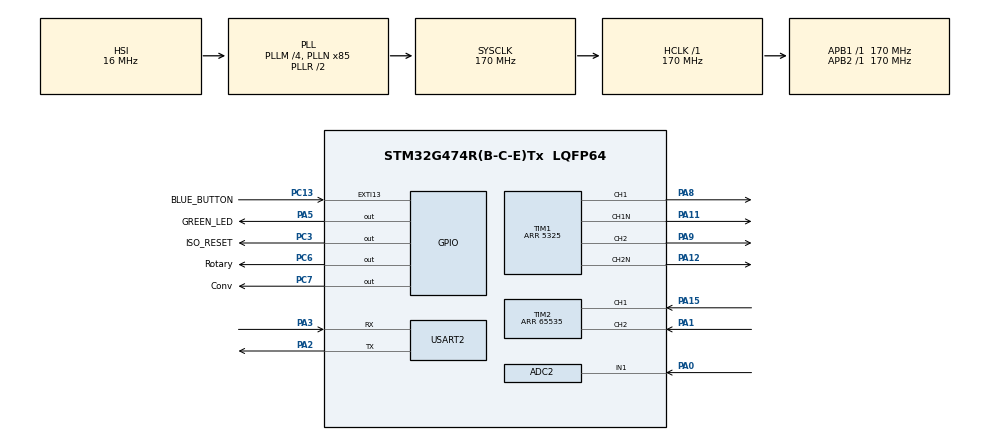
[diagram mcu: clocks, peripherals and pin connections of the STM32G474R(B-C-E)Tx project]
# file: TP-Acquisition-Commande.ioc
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ADC2.Channel-1\#ChannelRegularConversion=ADC_CHANNEL_1
ADC2.ClockPrescaler=ADC_CLOCK_ASYNC_DIV4
ADC2.DMAContinuousRequests=ENABLE
ADC2.ExternalTrigConv=ADC_EXTERNALTRIG_T1_TRGO
ADC2.NbrOfConversionFlag=1
ADC2.OffsetNumber-1\#ChannelRegularConversion=ADC_OFFSET_NONE
ADC2.Overrun=ADC_OVR_DATA_OVERWRITTEN
ADC2.Rank-1\#ChannelRegularConversion=1
ADC2.SamplingTime-1\#ChannelRegularConversion=ADC_SAMPLETIME_2CYCLES_5
Dma.ADC2.0.Direction=DMA_PERIPH_TO_MEMORY
Dma.ADC2.0.EventEnable=DISABLE
Dma.ADC2.0.Instance=DMA1_Channel1
Dma.ADC2.0.MemDataAlignment=DMA_MDATAALIGN_HALFWORD
Dma.ADC2.0.MemInc=DMA_MINC_ENABLE
Dma.ADC2.0.Mode=DMA_CIRCULAR
Dma.ADC2.0.PeriphDataAlignment=DMA_PDATAALIGN_HALFWORD
Dma.ADC2.0.PeriphInc=DMA_PINC_DISABLE
Dma.ADC2.0.Polarity=HAL_DMAMUX_REQ_GEN_RISING
Dma.ADC2.0.Priority=DMA_PRIORITY_LOW
Dma.ADC2.0.RequestNumber=1
Dma.ADC2.0.SignalID=NONE
Dma.ADC2.0.SyncEnable=DISABLE
Dma.ADC2.0.SyncPolarity=HAL_DMAMUX_SYNC_NO_EVENT
Dma.ADC2.0.SyncRequestNumber=1
Dma.ADC2.0.SyncSignalID=NONE
Dma.Request0=ADC2
Mcu.Family=STM32G4
Mcu.Name=STM32G474R(B-C-E)Tx
Mcu.Package=LQFP64
NVIC.ADC1_2_IRQn=true\:0\:0\:false\:false\:true\:true\:true\:true
NVIC.DMA1_Channel1_IRQn=true\:0\:0\:false\:false\:true\:false\:true\:true
NVIC.EXTI15_10_IRQn=true\:0\:0\:false\:false\:true\:true\:true\:true
NVIC.PriorityGroup=NVIC_PRIORITYGROUP_4
NVIC.TIM2_IRQn=true\:0\:0\:false\:false\:true\:true\:true\:true
NVIC.TIM3_IRQn=true\:0\:0\:false\:false\:true\:true\:true\:true
NVIC.USART2_IRQn=true\:0\:0\:false\:false\:true\:true\:true\:true
PA0.Mode=IN1-Single-Ended
PA0.Signal=ADC2_IN1
PA1.Signal=S_TIM2_CH2
PA11.Mode=PWM Generation1 CH1 CH1N
PA11.Signal=TIM1_CH1N
PA12.Mode=PWM Generation2 CH2 CH2N
PA12.Signal=TIM1_CH2N
PA13.GPIO_Label=T_SWDIO
PA13.Mode=Serial_Wire
PA13.Signal=SYS_JTMS-SWDIO
PA14.GPIO_Label=T_SWCLK
PA14.Mode=Serial_Wire
PA14.Signal=SYS_JTCK-SWCLK
PA15.Signal=S_TIM2_CH1
PA2.Mode=Asynchronous
PA2.Signal=USART2_TX
PA3.Mode=Asynchronous
PA3.Signal=USART2_RX
PA5.GPIO_Label=GREEN_LED
PA5.Signal=GPIO_Output
PA8.Signal=S_TIM1_CH1
PA9.Signal=S_TIM1_CH2
PC13.GPIO_Label=BLUE_BUTTON
PC13.Signal=GPXTI13
PC14-OSC32_IN.Mode=LSE-External-Oscillator
PC14-OSC32_IN.Signal=RCC_OSC32_IN
PC15-OSC32_OUT.Mode=LSE-External-Oscillator
PC15-OSC32_OUT.Signal=RCC_OSC32_OUT
PC3.GPIO_Label=ISO_RESET
PC3.Signal=GPIO_Output
PC6.GPIO_Label=Rotary
PC6.Signal=GPIO_Output
PC7.GPIO_Label=Conv
PC7.Signal=GPIO_Output
PF0-OSC_IN.Mode=HSE-External-Oscillator
PF0-OSC_IN.Signal=RCC_OSC_IN
PF1-OSC_OUT.Mode=HSE-External-Oscillator
PF1-OSC_OUT.Signal=RCC_OSC_OUT
ProjectManager.HeapSize=0x200
ProjectManager.StackSize=0x400
ProjectManager.TargetToolchain=STM32CubeIDE
RCC.ADC12Freq_Value=170000000
RCC.ADC345Freq_Value=170000000
RCC.AHBFreq_Value=170000000
RCC.APB1Freq_Value=170000000
RCC.APB1TimFreq_Value=170000000
RCC.APB2Freq_Value=170000000
RCC.APB2TimFreq_Value=170000000
RCC.CortexFreq_Value=170000000
RCC.EXTERNAL_CLOCK_VALUE=12288000
RCC.HCLKFreq_Value=170000000
RCC.HSE_VALUE=24000000
RCC.HSI48_VALUE=48000000
RCC.HSI_VALUE=16000000
RCC.PLLM=RCC_PLLM_DIV4
RCC.PLLN=85
RCC.RTCClockSelection=RCC_RTCCLKSOURCE_LSE
RCC.SYSCLKFreq_VALUE=170000000
RCC.SYSCLKSource=RCC_SYSCLKSOURCE_PLLCLK
RCC.USBFreq_Value=170000000
RCC.VCOOutputFreq_Value=340000000
SH.S_TIM1_CH1.0=TIM1_CH1,PWM Generation1 CH1 CH1N
SH.S_TIM1_CH2.0=TIM1_CH2,PWM Generation2 CH2 CH2N
SH.S_TIM2_CH1.0=TIM2_CH1,Encoder_Interface
SH.S_TIM2_CH2.0=TIM2_CH2,Encoder_Interface
TIM1.BreakState=TIM_BREAK_DISABLE
TIM1.Channel-PWM\ Generation1\ CH1\ CH1N=TIM_CHANNEL_1
TIM1.Channel-PWM\ Generation2\ CH2\ CH2N=TIM_CHANNEL_2
TIM1.CounterMode=TIM_COUNTERMODE_CENTERALIGNED1
TIM1.DeadTime=205
TIM1.PeriodNoDither=5325
TIM1.PulseNoDither_1=2663
TIM1.PulseNoDither_2=2663
TIM1.TIM_MasterOutputTrigger=TIM_TRGO_UPDATE
TIM2.AutoReloadPreload=TIM_AUTORELOAD_PRELOAD_ENABLE
TIM2.EncoderMode=TIM_ENCODERMODE_TI12
TIM2.PeriodNoDither=65535
TIM3.AutoReloadPreload=TIM_AUTORELOAD_PRELOAD_ENABLE
TIM3.PeriodNoDither=500
TIM3.Prescaler=17000
USART2.VirtualMode-Asynchronous=VM_ASYNC
VP_SYS_VS_DBSignals.Mode=DisableDeadBatterySignals
VP_TIM3_VS_ClockSourceINT.Mode=Internal
board=NUCLEO-G474RE

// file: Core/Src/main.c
/* USER CODE BEGIN Header */
/**
  ******************************************************************************
  * @file           : main.c
  * @brief          : Main program body
  ******************************************************************************
  * @attention
  *
  * Copyright (c) 2022 STMicroelectronics.
  * All rights reserved.
  *
  * This software is licensed under terms that can be found in the LICENSE file
  * in the root directory of this software component.
  * If no LICENSE file comes with this software, it is provided AS-IS.
  *
  ******************************************************************************
  */
/* USER CODE END Header */
#include "main.h"
#include "adc.h"
#include "dma.h"
#include "tim.h"
#include "usart.h"
#include "gpio.h"

/* USER CODE BEGIN PD */
#define UART_TX_BUFFER_SIZE 64
#define UART_RX_BUFFER_SIZE 1
#define CMD_BUFFER_SIZE 64
#define MAX_ARGS 9
// LF = line feed, saut de ligne
#define ASCII_LF 0x0A
// CR = carriage return, retour chariot
#define ASCII_CR 0x0D
// DEL = delete
#define ASCII_DEL 0x7F

#define	ADC_BUFFER_SIZE 1

#define CURRENT_GAIN_K 10
#define CURRENT_GAIN_I 0.127
/* USER CODE END PD */

/* USER CODE BEGIN PV */

struct Valeurs
{
	int Vitesse;
	int Alpha;
	int Courant;
	int Err_Angle;
};
struct Valeurs VAL_STRUCT;

uint8_t prompt[]="user@Nucleo-STM32G431>>";
uint8_t started[]=
		"\r\n*-----------------------------*"
		"\r\n| Welcome on Nucleo-STM32G431 |"
		"\r\n*-----------------------------*"
		"\r\n";
uint8_t newline[]="\r\n";
uint8_t cmdNotFound[]="Command not found\r\n";
uint32_t uartRxReceived;
uint8_t uartRxBuffer[UART_RX_BUFFER_SIZE];
uint8_t uartTxBuffer[UART_TX_BUFFER_SIZE];

// Tableaux comparatifs des commandes

uint8_t helpCMD[] = "help";
uint8_t pinoutCMD[] = "pinout";
uint8_t startCMD[] = "start";
uint8_t stopCMD[] = "stop";
uint8_t alphaCMD[] = "alpha";
uint8_t IsoReset[] = "isoreset";
uint8_t SpeedCMD[] = "speed";
uint8_t ADC[] = "ADC";
uint8_t NbConv = 0;
uint8_t Status;
uint16_t DAT[ADC_BUFFER_SIZE];

float courant[2] = {0};
float Ticks = 0;
float PREC_ALPHA = 50;

/* USER CODE END PV */

void SystemClock_Config(void);
/* USER CODE BEGIN PFP */

int ConvAlpha(int vitesse);
void CCRAlpha(int alpha);
void TIMIRQ(void);
void AsservCourant(float Consigne);

/* USER CODE END PFP */

/* USER CODE BEGIN 0 */

int ConvAlpha(int vitesse)	//Speed to Alpha conversion and send for modification of CCR
{
	int ValAlpha = ((vitesse + 3000)/60);
	CCRAlpha(ValAlpha);
	return ValAlpha;
}

void HAL_ADC_ConvCpltCallback(ADC_HandleTypeDef* hadc)	//Calculate current mean and send it to PI Corrector each DMA interrupt
{
	NbConv++;
	float CMoy = 0;
	for (int i = 0; i < ADC_BUFFER_SIZE; ++i) {
		CMoy = CMoy + (float)DAT[i];
	}
	CMoy = CMoy/ADC_BUFFER_SIZE;
	courant[0] = ((CMoy-3100.0)/4096.0)*(12.0*3.3)-0.3;
	AsservCourant(courant[0]);
}

void CCRAlpha(int alpha)	//Modification of CCR
{
	 TIM1->CCR1 = (int)((5325*alpha)/100);
	 TIM1->CCR2 = (int)((5325*(100 - alpha)/100));
	 TIM1->CNT=0;
}

void PWMStartStop(void)	//Start or Stop PWM generation depending on actual state
{
	if(Status == 0)
	{
		ConvAlpha(0);
		HAL_TIM_PWM_Start(&htim1, TIM_CHANNEL_1);
		HAL_TIMEx_PWMN_Start(&htim1, TIM_CHANNEL_1);
		HAL_TIM_PWM_Start(&htim1, TIM_CHANNEL_2);
		HAL_TIMEx_PWMN_Start(&htim1, TIM_CHANNEL_2);
		Status = 1;
	}
	else
	{
		HAL_TIM_PWM_Stop(&htim1, TIM_CHANNEL_1);
		HAL_TIMEx_PWMN_Stop(&htim1, TIM_CHANNEL_1);
		HAL_TIM_PWM_Stop(&htim1, TIM_CHANNEL_2);
		HAL_TIMEx_PWMN_Stop(&htim1, TIM_CHANNEL_2);
		Status = 0;
	}
}

void TIMIRQ(void)	//Calculate position and number of turns every interrupt on TIM3
{
	HAL_GPIO_TogglePin(Rotary_GPIO_Port, Rotary_Pin);
	HAL_GPIO_TogglePin(Rotary_GPIO_Port, Rotary_Pin);
	Ticks = ((((TIM2->CNT)-32767)/0.05)/4096);
	TIM2->CNT = 32767;
}

void AsservCourant(float Consigne)	//Correct the alpha value depending on current error
{
	float Error = Consigne-courant[0];
	float AlphaCorrige = CURRENT_GAIN_K*Error + CURRENT_GAIN_I*(PREC_ALPHA + Error);
	if (AlphaCorrige > 100){
		AlphaCorrige = 100;
	}
	else if (AlphaCorrige < -100){
		AlphaCorrige = -100;
	}
	else{
		PREC_ALPHA = AlphaCorrige;
	}
	VAL_STRUCT.Alpha = AlphaCorrige ;
	CCRAlpha(VAL_STRUCT.Alpha);
}

/* USER CODE END 0 */

int main(void)
{
  /* USER CODE BEGIN 1 */
	char	 	cmdBuffer[CMD_BUFFER_SIZE];
	int 		idx_cmd;
	char* 		argv[MAX_ARGS];
	int		 	argc = 0;
	char*		token;
	int 		newCmdReady = 0;
  /* USER CODE END 1 */

  /* MCU Configuration--------------------------------------------------------*/

  /* Reset of all peripherals, Initializes the Flash interface and the Systick. */
  HAL_Init();

  /* Configure the system clock */
  SystemClock_Config();

  /* Initialize all configured peripherals */
  MX_GPIO_Init();
  MX_DMA_Init();
  MX_TIM1_Init();
  MX_USART2_UART_Init();
  MX_TIM2_Init();
  MX_ADC2_Init();
  MX_TIM3_Init();
  /* USER CODE BEGIN 2 */
	memset(argv,NULL,MAX_ARGS*sizeof(char*));
	memset(cmdBuffer,NULL,CMD_BUFFER_SIZE*sizeof(char));
	memset(uartRxBuffer,NULL,UART_RX_BUFFER_SIZE*sizeof(char));
	memset(uartTxBuffer,NULL,UART_TX_BUFFER_SIZE*sizeof(char));

	HAL_UART_Receive_IT(&huart2, uartRxBuffer, UART_RX_BUFFER_SIZE);
	HAL_Delay(10);
	HAL_UART_Transmit(&huart2, started, sizeof(started), HAL_MAX_DELAY);
	HAL_UART_Transmit(&huart2, prompt, sizeof(prompt), HAL_MAX_DELAY);

	HAL_TIM_Encoder_Start(&htim2, TIM_CHANNEL_ALL);
	HAL_TIM_Base_Start_IT(&htim3);

	if(HAL_ADCEx_Calibration_Start(&hadc2, ADC_SINGLE_ENDED)!=HAL_OK)
	{
		Error_Handler();
	}

	if(HAL_ADC_Start_DMA(&hadc2, DAT, ADC_BUFFER_SIZE)!=HAL_OK)
	{
		Error_Handler();
	}
	HAL_TIM_Base_Start(&htim1);

	int etat = 0;

  /* USER CODE END 2 */

  /* Infinite loop */
  /* USER CODE BEGIN WHILE */
	while (1)
	{
	// uartRxReceived is set to 1 when a new character is received on uart 1
		if(HAL_GPIO_ReadPin(BLUE_BUTTON_GPIO_Port, BLUE_BUTTON_Pin) == 1)
		{
			while(HAL_GPIO_ReadPin(BLUE_BUTTON_GPIO_Port, BLUE_BUTTON_Pin) == 1){}
			PWMStartStop();
		}
		if(uartRxReceived)
		{
			switch(uartRxBuffer[0])
			{
				// Nouvelle ligne, instruction à traiter
				case ASCII_CR:
					HAL_UART_Transmit(&huart2, newline, sizeof(newline), HAL_MAX_DELAY);
					cmdBuffer[idx_cmd] = '\0';
					argc = 0;
					token = strtok(cmdBuffer, " ");
					while(token!=NULL)
					{
						argv[argc++] = token;
						token = strtok(NULL, " ");
					}
					idx_cmd = 0;
					newCmdReady = 1;
				break;
				// Suppression du dernier caractère
				case ASCII_DEL:
					cmdBuffer[idx_cmd--] = '\0';
					HAL_UART_Transmit(&huart2, uartRxBuffer, UART_RX_BUFFER_SIZE, HAL_MAX_DELAY);
				break;
				// Nouveau caractère
				default:
					cmdBuffer[idx_cmd++] = uartRxBuffer[0];
					HAL_UART_Transmit(&huart2, uartRxBuffer, UART_RX_BUFFER_SIZE, HAL_MAX_DELAY);
			}
			uartRxReceived = 0;
		}
		if(newCmdReady)
		{
			if(strcmp(argv[0],"set")==0)
			{
				if(strcmp(argv[1],"PA5")==0)
				{
					HAL_GPIO_WritePin(GREEN_LED_GPIO_Port, GREEN_LED_Pin, atoi(argv[2]));
					sprintf(uartTxBuffer,"Switch on/off led : %d\r\n",atoi(argv[2]));
					HAL_UART_Transmit(&huart2, uartTxBuffer, 32, HAL_MAX_DELAY);
				}
				else
				{
					HAL_UART_Transmit(&huart2, cmdNotFound, sizeof(cmdNotFound), HAL_MAX_DELAY);
				}
			}
			else if(strcmp(argv[0],"get")==0)
			{
				HAL_UART_Transmit(&huart2, cmdNotFound, sizeof(cmdNotFound), HAL_MAX_DELAY);
			}
			else if(strcmp(argv[0],helpCMD)==0)
			{
				HAL_UART_Transmit(&huart2, "List of commands:\r\n", sizeof("List of commands:\r\n"), HAL_MAX_DELAY);
				HAL_UART_Transmit(&huart2, "	help\r\n", sizeof("	help\r\n"), HAL_MAX_DELAY);
				HAL_UART_Transmit(&huart2, "	-> Displays the list of commands\r\n", sizeof("	-> Displays the list of commands\r\n"), HAL_MAX_DELAY);
				HAL_UART_Transmit(&huart2, "	set PA5 (0 or 1)\r\n", sizeof("	set PA5 (0 or 1)\r\n"), HAL_MAX_DELAY);
				HAL_UART_Transmit(&huart2, "	-> Turns the LED on or off\r\n", sizeof("	-> Turns the LED on or off\r\n"), HAL_MAX_DELAY);
				HAL_UART_Transmit(&huart2, "	pinout\r\n", sizeof("	pinout\r\n"), HAL_MAX_DELAY);
				HAL_UART_Transmit(&huart2, "	-> Displays the list of used PINs and their uses\r\n", sizeof("	-> Displays the list of used PINs and their uses\r\n"), HAL_MAX_DELAY);
				HAL_UART_Transmit(&huart2, "	start\r\n", sizeof("	start\r\n"), HAL_MAX_DELAY);
				HAL_UART_Transmit(&huart2, "	-> Starts the generation of PWMs\r\n", sizeof("	-> Starts the generation of PWMs\r\n"), HAL_MAX_DELAY);
				HAL_UART_Transmit(&huart2, "	stop\r\n", sizeof("	stop\r\n"), HAL_MAX_DELAY);
				HAL_UART_Transmit(&huart2, "	-> Stops the generation of PWMs\r\n", sizeof("	-> Stops the generation of PWMs\r\n"), HAL_MAX_DELAY);
				HAL_UART_Transmit(&huart2, "	alpha [0;1]\r\n", sizeof("	alpha [0;1]\r\n"), HAL_MAX_DELAY);
				HAL_UART_Transmit(&huart2, "	-> Changes the value of the Alpha duty cycle between 0 and 1\r\n", sizeof("	-> Changes the value of the Alpha duty cycle between 0 and 1\r\n"), HAL_MAX_DELAY);
				HAL_UART_Transmit(&huart2, "	isoreset\r\n", sizeof("	isoreset\r\n"), HAL_MAX_DELAY);
				HAL_UART_Transmit(&huart2, "	-> Reset the system\r\n", sizeof("	-> Reset the system\r\n"), HAL_MAX_DELAY);
				HAL_UART_Transmit(&huart2, "	speed = XXXX\r\n", sizeof("	speed = XXXX\r\n"), HAL_MAX_DELAY);
				HAL_UART_Transmit(&huart2, "	-> Set the speed at XXXX [-3000;3000] RPM\r\n", sizeof("	-> Set the speed at XXXX [-3000;3000] RPM\r\n"), HAL_MAX_DELAY);
			}
			else if(strcmp(argv[0],pinoutCMD)==0)
			{
				HAL_UART_Transmit(&huart2, "list of PINs used :\r\n", sizeof("list of PINs used :\r\n"), HAL_MAX_DELAY);
				HAL_UART_Transmit(&huart2, "	PA5  : Switch on/off the LED\r\n", sizeof("	PA5  : Switch on/off the LED\r\n"), HAL_MAX_DELAY);
				HAL_UART_Transmit(&huart2, "	PA8  : PWM 1\r\n", sizeof("	PA8  : PWM 1\r\n"), HAL_MAX_DELAY);
				HAL_UART_Transmit(&huart2, "	PA9  : PWM 2\r\n", sizeof("	PA9  : PWM 2\r\n"), HAL_MAX_DELAY);
				HAL_UART_Transmit(&huart2, "	PA11 : PWM 1N\r\n", sizeof("	PA11 : PWM 1N\r\n"), HAL_MAX_DELAY);
				HAL_UART_Transmit(&huart2, "	PA12 : PWM 2N\r\n", sizeof("	PA12 : PWM 2N\r\n"), HAL_MAX_DELAY);
				HAL_UART_Transmit(&huart2, "	PC3  : IsoReset\r\n", sizeof("	PC3  : IsoReset\r\n"), HAL_MAX_DELAY);
				HAL_UART_Transmit(&huart2, "	PA1  : Current measurement (ADC)\r\n", sizeof("	PC3  : Current measurement (ADC)\r\n"), HAL_MAX_DELAY);
			}
			else if(strcmp(argv[0],alphaCMD)==0)
			{
				CCRAlpha(atoi(argv[1]));
			}
			else if(strcmp(argv[0],startCMD)==0)
			{
				Status = 0;
				PWMStartStop();
				HAL_UART_Transmit(&huart2, "The PWMs have been generated\r\n", sizeof("The PWMs have been generated\r\n"), HAL_MAX_DELAY);
			}
			else if(strcmp(argv[0],stopCMD)==0)
			{
				Status = 1;
				PWMStartStop();
				HAL_UART_Transmit(&huart2, "The PWMs have been stopped\r\n", sizeof("The PWMs have been stopped\r\n"), HAL_MAX_DELAY);
			}
			else if(strcmp(argv[0],IsoReset)==0)
			{
				HAL_UART_Transmit(&huart2, "IsoReset in progress!\r\n", sizeof("IsoReset in progress!\r\n"), HAL_MAX_DELAY);
				HAL_GPIO_WritePin(ISO_RESET_GPIO_Port, ISO_RESET_Pin, 1);
				HAL_Delay(1);
				HAL_GPIO_WritePin(ISO_RESET_GPIO_Port, ISO_RESET_Pin, 0);
				HAL_UART_Transmit(&huart2, "IsoReset done!\r\n", sizeof("IsoReset done!\r\n"), HAL_MAX_DELAY);
			}
			else if(strcmp(argv[0],SpeedCMD)==0)
			{
				int speed = atoi(argv[1]);
				if (speed > 0)
				{
					if (speed > 3000)
					{
						speed = 3000;
					}
				}
				if (speed < 0)
				{
					if (speed < -3000)
					{
						speed = -3000;
					}
				}
				sprintf(uartTxBuffer,"Speed will be set to %d RPM \r\n",speed);
				HAL_UART_Transmit(&huart2, uartTxBuffer, 64, HAL_MAX_DELAY);
				HAL_Delay(10);
				int NewAlpha = ConvAlpha(speed);
				sprintf(uartTxBuffer,"Alpha = %d\r\n",NewAlpha);
				HAL_UART_Transmit(&huart2, uartTxBuffer, 64, HAL_MAX_DELAY);
			}
			else if(strcmp(argv[0],"c")==0)
			{
				sprintf(uartTxBuffer,"Nb DMA = %0.3d",NbConv);
				HAL_UART_Transmit(&huart2, uartTxBuffer, sizeof("Nb DMA = 123"), HAL_MAX_DELAY);
				HAL_UART_Transmit(&huart2, "\r\n", sizeof("\r\n"), HAL_MAX_DELAY);
				sprintf(uartTxBuffer,"Courant = %0.4f",courant[0]);
				HAL_UART_Transmit(&huart2, uartTxBuffer, sizeof("Courant = 12345\r\n"), HAL_MAX_DELAY);
				HAL_UART_Transmit(&huart2, "\r\n", sizeof("\r\n"), HAL_MAX_DELAY);
				sprintf(uartTxBuffer,"RoueTour = %f",Ticks);
				HAL_UART_Transmit(&huart2, uartTxBuffer, sizeof(uartTxBuffer), HAL_MAX_DELAY);
				HAL_UART_Transmit(&huart2, "\r\n", sizeof("\r\n"), HAL_MAX_DELAY);
			}
			else
			{
				HAL_UART_Transmit(&huart2, cmdNotFound, sizeof(cmdNotFound), HAL_MAX_DELAY);
			}
			HAL_UART_Transmit(&huart2, prompt, sizeof(prompt), HAL_MAX_DELAY);
			newCmdReady = 0;
		}
    /* USER CODE END WHILE */

	}
}

void SystemClock_Config(void)
{
  RCC_OscInitTypeDef RCC_OscInitStruct = {0};
  RCC_ClkInitTypeDef RCC_ClkInitStruct = {0};

  /** Configure the main internal regulator output voltage
  */
  HAL_PWREx_ControlVoltageScaling(PWR_REGULATOR_VOLTAGE_SCALE1_BOOST);

  /** Initializes the RCC Oscillators according to the specified parameters
  * in the RCC_OscInitTypeDef structure.
  */
  RCC_OscInitStruct.OscillatorType = RCC_OSCILLATORTYPE_HSI;
  RCC_OscInitStruct.HSIState = RCC_HSI_ON;
  RCC_OscInitStruct.HSICalibrationValue = RCC_HSICALIBRATION_DEFAULT;
  RCC_OscInitStruct.PLL.PLLState = RCC_PLL_ON;
  RCC_OscInitStruct.PLL.PLLSource = RCC_PLLSOURCE_HSI;
  RCC_OscInitStruct.PLL.PLLM = RCC_PLLM_DIV4;
  RCC_OscInitStruct.PLL.PLLN = 85;
  RCC_OscInitStruct.PLL.PLLP = RCC_PLLP_DIV2;
  RCC_OscInitStruct.PLL.PLLQ = RCC_PLLQ_DIV2;
  RCC_OscInitStruct.PLL.PLLR = RCC_PLLR_DIV2;
  if (HAL_RCC_OscConfig(&RCC_OscInitStruct) != HAL_OK)
  {
    Error_Handler();
  }

  /** Initializes the CPU, AHB and APB buses clocks
  */
  RCC_ClkInitStruct.ClockType = RCC_CLOCKTYPE_HCLK|RCC_CLOCKTYPE_SYSCLK
                              |RCC_CLOCKTYPE_PCLK1|RCC_CLOCKTYPE_PCLK2;
  RCC_ClkInitStruct.SYSCLKSource = RCC_SYSCLKSOURCE_PLLCLK;
  RCC_ClkInitStruct.AHBCLKDivider = RCC_SYSCLK_DIV1;
  RCC_ClkInitStruct.APB1CLKDivider = RCC_HCLK_DIV1;
  RCC_ClkInitStruct.APB2CLKDivider = RCC_HCLK_DIV1;

  if (HAL_RCC_ClockConfig(&RCC_ClkInitStruct, FLASH_LATENCY_4) != HAL_OK)
  {
    Error_Handler();
  }
}

/* USER CODE BEGIN 4 */
void HAL_UART_RxCpltCallback (UART_HandleTypeDef * huart){
	uartRxReceived = 1;
	HAL_UART_Receive_IT(&huart2, uartRxBuffer, UART_RX_BUFFER_SIZE);
}

/* USER CODE END 4 */

void Error_Handler(void)
{
  __disable_irq();
  while (1)
  {
  }
}
